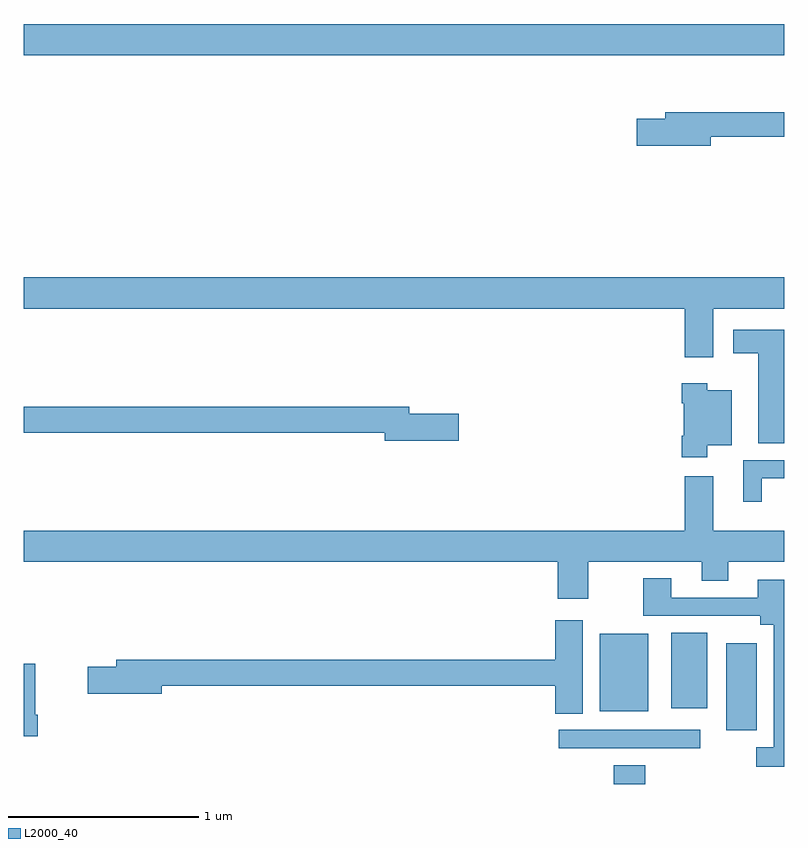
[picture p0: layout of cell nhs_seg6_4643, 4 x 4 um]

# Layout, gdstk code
import gdstk
lib = gdstk.Library(unit=1e-6, precision=1e-09)
def R(c, l, rs):  # rectangles x0, y0, x1, y1
    for r in rs: c.add(gdstk.rectangle(r[:2], r[2:], *l))
def P(c, l, *ps):  # polygons
    for p in ps: c.add(gdstk.Polygon(p, *l))
L2000_40 = (2000, 40)

nhs_seg6_4643 = lib.new_cell('nhs_seg6_4643')
R(nhs_seg6_4643, L2000_40, [(388.103,947.5,388.268,947.599), (387.813,947.688,388.558,947.784), (388.694,947.783,388.855,948.241), (388.028,947.882,388.285,948.289), (388.406,947.897,388.594,948.295), (385,951.332,389,951.496)])
P(nhs_seg6_4643, L2000_40, [(388.612,950.902),(389,950.902),(389,951.031),(388.373,951.031),(388.373,950.997),(388.224,950.997),(388.224,950.855),(388.612,950.855)],
  [(388.627,950),(389,950),(389,950.164),(385,950.164),(385,950),(388.475,950),(388.475,949.743),(388.627,949.743)],
  [(389,949.888),(388.731,949.888),(388.731,949.766),(388.862,949.766),(388.862,949.292),(389,949.292)],
  [(388.594,949.28),(388.723,949.28),(388.723,949.57),(388.594,949.57),(388.594,949.606),(388.46,949.606),(388.46,949.502),(388.472,949.502),(388.472,949.33),(388.46,949.33),(388.46,949.218),(388.594,949.218)],
  [(387.289,949.448),(387.028,949.448),(387.028,949.484),(385,949.484),(385,949.348),(386.9,949.348),(386.9,949.306),(387.289,949.306)],
  [(388.882,949.107),(389,949.107),(389,949.203),(388.784,949.203),(388.784,948.984),(388.882,948.984)],
  [(387.969,948.668),(388.565,948.668),(388.565,948.569),(388.705,948.569),(388.705,948.668),(389,948.668),(389,948.832),(388.627,948.832),(388.627,949.117),(388.475,949.117),(388.475,948.832),(385,948.832),(385,948.668),(387.809,948.668),(387.809,948.474),(387.969,948.474)],
  [(389,948.574),(388.859,948.574),(388.859,948.48),(388.405,948.48),(388.405,948.583),(388.258,948.583),(388.258,948.384),(388.874,948.384),(388.874,948.338),(388.944,948.338),(388.944,947.692),(388.851,947.692),(388.851,947.592),(389,947.592)],
  [(387.94,948.361),(387.794,948.361),(387.794,948.152),(385.487,948.152),(385.487,948.116),(385.338,948.116),(385.338,947.974),(385.726,947.974),(385.726,948.016),(387.794,948.016),(387.794,947.869),(387.94,947.869)],
  [(385.073,947.863),(385.06,947.863),(385.06,948.132),(385,948.132),(385,947.751),(385.073,947.751)])

lib.write_gds('nhs_seg6_4643.gds')
